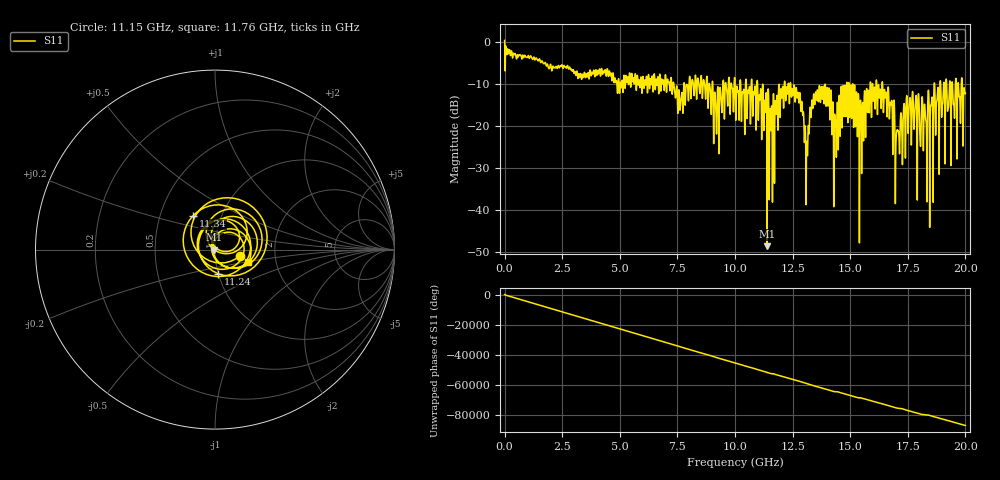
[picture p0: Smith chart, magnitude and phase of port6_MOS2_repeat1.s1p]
! MS46122B
! 2250307/22442219
! 7/26/2025 10:34:28 AM
! C:\USERS\SPARKY\DOCUMENTS\VNA_DATA\JULY26_2025\295K\PORT6_MOS2_REPEAT1.S1P
! CHANNEL.1
! TR.MEASUREMENT
! RAW.DATA
# GHZ S RI R 50.0
! FREQ.GHZ  S11RE  S11IM
!; PortSelection: Port_1
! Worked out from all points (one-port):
!   10001 points, 1 MHz to 20 GHz, reference 50 ohm
!   lowest |S11| = -48.5 dB at 11.4 GHz (marker M1), VSWR 1.01, Z = 49.6 - j0.0837 ohm
!   |S11| at or under -10 dB: 12.42 GHz to 13.91 GHz (1.492 GHz wide, 11.3 % of centre); 13.92 GHz to 14.85 GHz (929.9 MHz wide, 6.47 % of centre); 16.41 GHz to 18.64 GHz (2.238 GHz wide, 12.8 % of centre) (the widest 3 of 67)
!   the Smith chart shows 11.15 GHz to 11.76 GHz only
!   S11 on the Smith chart (normalised r, x): 11.15 GHz: 1.31, -0.10; 11.24 GHz: 0.99, -0.27; 11.34 GHz: 0.73, +0.29; 11.76 GHz: 1.44, -0.22
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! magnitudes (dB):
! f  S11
! 1 MHz  0.4
! 2.501 GHz  -5.5
! 5.001 GHz  -11.5
! 7.501 GHz  -13.9
! 8.595 GHz  -12.4
! 9.231 GHz  -12.9
! 10 GHz  -9.2
! 11.15 GHz  -16.9
! 11.24 GHz  -17.4
! 11.34 GHz  -13.0
! 11.4 GHz  -48.5
! 11.76 GHz  -14.0
! 12.5 GHz  -11.3
! 12.89 GHz  -14.4
! 13.1 GHz  -28.0
! 13.34 GHz  -13.8
! 13.58 GHz  -11.4
! 14.08 GHz  -11.0
! 14.31 GHz  -18.5
! 15 GHz  -13.1
! 15.49 GHz  -24.5
! 15.8 GHz  -11.4
! 16.47 GHz  -12.0
! 17.05 GHz  -20.8
! 17.5 GHz  -19.2
! 18.26 GHz  -16.8
! 18.73 GHz  -16.4
! 20 GHz  -12.2
